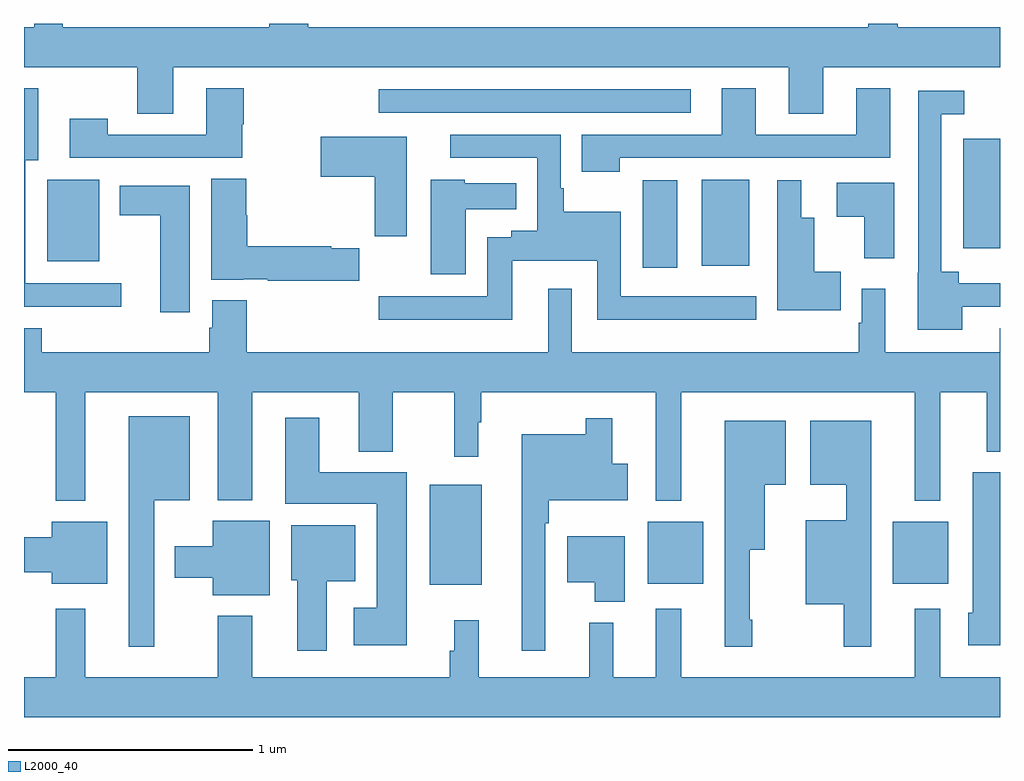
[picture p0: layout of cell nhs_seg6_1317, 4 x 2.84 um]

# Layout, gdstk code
import gdstk
lib = gdstk.Library(unit=1e-6, precision=1e-09)
def R(c, l, rs):  # rectangles x0, y0, x1, y1
    for r in rs: c.add(gdstk.rectangle(r[:2], r[2:], *l))
def P(c, l, *ps):  # polygons
    for p in ps: c.add(gdstk.Polygon(p, *l))
L2000_40 = (2000, 40)

nhs_seg6_1317 = lib.new_cell('nhs_seg6_1317')
R(nhs_seg6_1317, L2000_40, [(192.662,961.199,192.877,961.609), (193.556,961.205,193.783,961.459), (194.561,961.205,194.788,961.459), (193.535,962.499,193.678,962.857), (193.778,962.507,193.972,962.86), (191.096,962.525,191.308,962.86), (194.849,962.58,195,963.028), (192.453,963.135,193.732,963.231)])
P(nhs_seg6_1317, L2000_40, [(191.611,963.32),(194.135,963.32),(194.135,963.13),(194.275,963.13),(194.275,963.32),(195,963.32),(195,963.484),(194.581,963.484),(194.581,963.5),(194.46,963.5),(194.46,963.484),(192.165,963.484),(192.165,963.5),(192.005,963.5),(192.005,963.484),(191.159,963.484),(191.159,963.5),(191.042,963.5),(191.042,963.484),(191,963.484),(191,963.32),(191.464,963.32),(191.464,963.13),(191.611,963.13)],
  [(191.895,963.087),(191.9,963.087),(191.9,963.235),(191.747,963.235),(191.747,963.045),(191.343,963.045),(191.343,963.109),(191.187,963.109),(191.187,962.949),(191.895,962.949)],
  [(193.442,962.949),(194.551,962.949),(194.551,963.235),(194.411,963.235),(194.411,963.045),(193.999,963.045),(193.999,963.235),(193.859,963.235),(193.859,963.045),(193.285,963.045),(193.285,962.892),(193.442,962.892)],
  [(191.398,962.436),(191.005,962.436),(191.005,962.939),(191.059,962.939),(191.059,963.235),(191,963.235),(191,962.339),(191.398,962.339)],
  [(194.845,962.34),(195,962.34),(195,962.436),(194.83,962.436),(194.83,962.482),(194.76,962.482),(194.76,963.129),(194.854,963.129),(194.854,963.225),(194.664,963.225),(194.664,962.478),(194.663,962.478),(194.663,962.246),(194.845,962.246)],
  [(193,962.528),(193.35,962.528),(193.35,962.285),(194.002,962.285),(194.002,962.382),(193.446,962.382),(193.446,962.728),(193.213,962.728),(193.213,962.824),(193.2,962.824),(193.2,963.045),(192.747,963.045),(192.747,962.949),(193.104,962.949),(193.104,962.65),(192.996,962.65),(192.996,962.625),(192.899,962.625),(192.899,962.382),(192.453,962.382),(192.453,962.285),(193,962.285)],
  [(192.568,963.037),(192.216,963.037),(192.216,962.872),(192.438,962.872),(192.438,962.628),(192.568,962.628)],
  [(192.373,962.58),(192.26,962.58),(192.26,962.588),(191.915,962.588),(191.915,962.714),(191.91,962.714),(191.91,962.864),(191.768,962.864),(191.768,962.45),(191.898,962.45),(191.898,962.453),(191.998,962.453),(191.998,962.446),(192.373,962.446)],
  [(192.811,962.738),(193.018,962.738),(193.018,962.845),(192.807,962.845),(192.807,962.86),(192.668,962.86),(192.668,962.472),(192.811,962.472)],
  [(194.348,962.482),(194.239,962.482),(194.239,962.704),(194.185,962.704),(194.185,962.857),(194.088,962.857),(194.088,962.6),(194.087,962.6),(194.087,962.324),(194.348,962.324)],
  [(194.566,962.848),(194.331,962.848),(194.331,962.708),(194.444,962.708),(194.444,962.538),(194.566,962.538)],
  [(191.68,962.836),(191.393,962.836),(191.393,962.714),(191.558,962.714),(191.558,962.316),(191.68,962.316)],
  [(191.251,961.988),(191.795,961.988),(191.795,961.547),(191.935,961.547),(191.935,961.988),(192.371,961.988),(192.371,961.745),(192.511,961.745),(192.511,961.988),(192.763,961.988),(192.763,961.725),(192.862,961.725),(192.862,961.865),(192.874,961.865),(192.874,961.988),(193.589,961.988),(193.589,961.544),(193.693,961.544),(193.693,961.988),(194.651,961.988),(194.651,961.544),(194.755,961.544),(194.755,961.988),(194.945,961.988),(194.945,961.745),(195,961.745),(195,962.251),(194.999,962.251),(194.999,962.152),(194.53,962.152),(194.53,962.413),(194.433,962.413),(194.433,962.274),(194.421,962.274),(194.421,962.152),(193.245,962.152),(193.245,962.413),(193.148,962.413),(193.148,962.152),(191.912,962.152),(191.912,962.365),(191.771,962.365),(191.771,962.253),(191.759,962.253),(191.759,962.152),(191.072,962.152),(191.072,962.251),(191,962.251),(191,961.988),(191.13,961.988),(191.13,961.544),(191.251,961.544)],
  [(191.533,961.547),(191.68,961.547),(191.68,961.891),(191.429,961.891),(191.429,960.945),(191.533,960.945)],
  [(192.568,961.66),(192.211,961.66),(192.211,961.885),(192.071,961.885),(192.071,961.532),(192.446,961.532),(192.446,961.105),(192.351,961.105),(192.351,960.953),(192.568,960.953)],
  [(193.137,961.451),(193.15,961.451),(193.15,961.547),(193.474,961.547),(193.474,961.695),(193.411,961.695),(193.411,961.882),(193.302,961.882),(193.302,961.816),(193.04,961.816),(193.04,960.93),(193.137,960.93)],
  [(193.985,961.057),(193.975,961.057),(193.975,961.343),(194.035,961.343),(194.035,961.61),(194.122,961.61),(194.122,961.873),(193.871,961.873),(193.871,960.945),(193.985,960.945)],
  [(194.473,961.873),(194.222,961.873),(194.222,961.61),(194.369,961.61),(194.369,961.465),(194.204,961.465),(194.204,961.121),(194.359,961.121),(194.359,960.945),(194.473,960.945)],
  [(195,961.66),(194.888,961.66),(194.888,961.086),(194.87,961.086),(194.87,960.953),(195,960.953)],
  [(192.007,961.462),(191.774,961.462),(191.774,961.357),(191.618,961.357),(191.618,961.228),(191.774,961.228),(191.774,961.157),(192.007,961.157)],
  [(191.341,961.459),(191.114,961.459),(191.114,961.394),(191,961.394),(191,961.252),(191.114,961.252),(191.114,961.205),(191.341,961.205)],
  [(192.241,961.214),(192.358,961.214),(192.358,961.444),(192.095,961.444),(192.095,961.218),(192.119,961.218),(192.119,960.93),(192.241,960.93)],
  [(193.462,961.399),(193.226,961.399),(193.226,961.211),(193.34,961.211),(193.34,961.13),(193.462,961.13)],
  [(194.651,961.102),(194.651,960.82),(193.693,960.82),(193.693,961.102),(193.589,961.102),(193.589,960.82),(193.414,960.82),(193.414,961.045),(193.316,961.045),(193.316,960.82),(192.863,960.82),(192.863,961.054),(192.764,961.054),(192.764,960.929),(192.745,960.929),(192.745,960.82),(191.935,960.82),(191.935,961.072),(191.795,961.072),(191.795,960.82),(191.251,960.82),(191.251,961.102),(191.13,961.102),(191.13,960.82),(191,960.82),(191,960.656),(195,960.656),(195,960.82),(194.755,960.82),(194.755,961.102)])

lib.write_gds('nhs_seg6_1317.gds')
